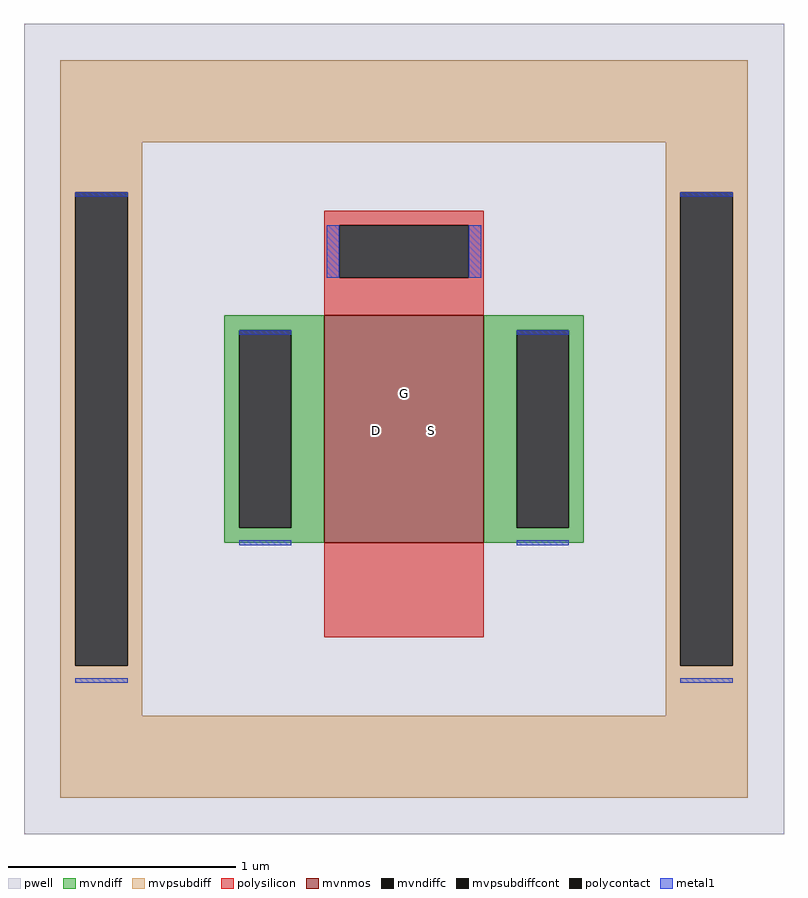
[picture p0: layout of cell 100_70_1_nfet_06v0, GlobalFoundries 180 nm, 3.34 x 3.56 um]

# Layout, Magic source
magic
tech gf180mcuD
magscale 1 10
<< pwell >>
rect -334 -356 334 356
<< mvnmos >>
rect -70 -100 70 100
<< mvndiff >>
rect -158 87 -70 100
rect -158 -87 -145 87
rect -99 -87 -70 87
rect -158 -100 -70 -87
rect 70 87 158 100
rect 70 -87 99 87
rect 145 -87 158 87
rect 70 -100 158 -87
<< mvndiffc >>
rect -145 -87 -99 87
rect 99 -87 145 87
<< mvpsubdiff >>
rect -302 252 302 324
rect -302 208 -230 252
rect -302 -208 -289 208
rect -243 -208 -230 208
rect 230 208 302 252
rect -302 -252 -230 -208
rect 230 -208 243 208
rect 289 -208 302 208
rect 230 -252 302 -208
rect -302 -324 302 -252
<< mvpsubdiffcont >>
rect -289 -208 -243 208
rect 243 -208 289 208
<< polysilicon >>
rect -70 179 70 192
rect -70 133 -57 179
rect 57 133 70 179
rect -70 100 70 133
rect -70 -183 70 -100
<< polycontact >>
rect -57 133 57 179
<< metal1 >>
rect -289 208 -243 204
rect 243 208 289 204
rect -68 133 -57 179
rect 57 133 68 179
rect -145 87 -99 83
rect -145 -98 -99 -102
rect 99 87 145 83
rect 99 -98 145 -102
rect -289 -219 -243 -223
rect 243 -219 289 -223
<< labels >>
flabel metal1 -24 -1 -24 -1 0 FreeSans 240 0 0 0 D
flabel metal1 0 31 0 31 0 FreeSans 240 0 0 0 G
flabel metal1 24 -1 24 -1 0 FreeSans 240 0 0 0 S
<< properties >>
string FIXED_BBOX -266 -288 266 288
<< end >>
